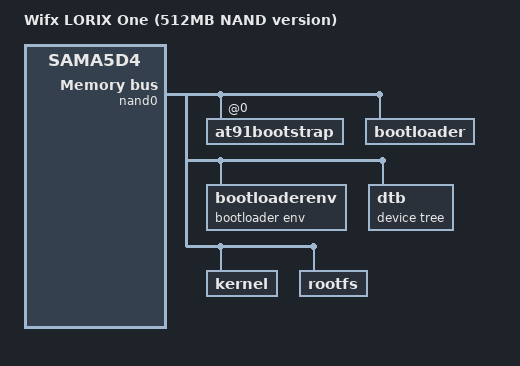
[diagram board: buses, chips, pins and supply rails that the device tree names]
/*
 * at91-sama5d4_lorix_one.dts - Device Tree file for SAMA5D4 Xplained board
 *
 *  Copyright (C) 2015 Atmel,
 *                2015 Josh Wu <josh.wu@atmel.com>
 *
 * This file is dual-licensed: you can use it either under the terms
 * of the GPL or the X11 license, at your option. Note that this dual
 * licensing only applies to this file, and not this project as a
 * whole.
 *
 *  a) This file is free software; you can redistribute it and/or
 *     modify it under the terms of the GNU General Public License as
 *     published by the Free Software Foundation; either version 2 of the
 *     License, or (at your option) any later version.
 *
 *     This file is distributed in the hope that it will be useful,
 *     but WITHOUT ANY WARRANTY; without even the implied warranty of
 *     MERCHANTABILITY or FITNESS FOR A PARTICULAR PURPOSE.  See the
 *     GNU General Public License for more details.
 *
 * Or, alternatively,
 *
 *  b) Permission is hereby granted, free of charge, to any person
 *     obtaining a copy of this software and associated documentation
 *     files (the "Software"), to deal in the Software without
 *     restriction, including without limitation the rights to use,
 *     copy, modify, merge, publish, distribute, sublicense, and/or
 *     sell copies of the Software, and to permit persons to whom the
 *     Software is furnished to do so, subject to the following
 *     conditions:
 *
 *     The above copyright notice and this permission notice shall be
 *     included in all copies or substantial portions of the Software.
 *
 *     THE SOFTWARE IS PROVIDED "AS IS", WITHOUT WARRANTY OF ANY KIND,
 *     EXPRESS OR IMPLIED, INCLUDING BUT NOT LIMITED TO THE WARRANTIES
 *     OF MERCHANTABILITY, FITNESS FOR A PARTICULAR PURPOSE AND
 *     NONINFRINGEMENT. IN NO EVENT SHALL THE AUTHORS OR COPYRIGHT
 *     HOLDERS BE LIABLE FOR ANY CLAIM, DAMAGES OR OTHER LIABILITY,
 *     WHETHER IN AN ACTION OF CONTRACT, TORT OR OTHERWISE, ARISING
 *     FROM, OUT OF OR IN CONNECTION WITH THE SOFTWARE OR THE USE OR
 *     OTHER DEALINGS IN THE SOFTWARE.
 */
/dts-v1/;
#include "at91-sama5d4_lorix_one_base.dtsi"

/ {
	model = "Wifx LORIX One (512MB NAND version)";
	ahb {
		nand0: nand@80000000 {
			nand-bus-width = <8>;
			nand-ecc-mode = "hw";
			nand-on-flash-bbt;
			atmel,has-pmecc;
			status = "okay";

			at91bootstrap@0 {
				label = "at91bootstrap";
				reg = <0x0 0x40000>;
			};

			bootloader@40000 {
				label = "bootloader";
				reg = <0x40000 0x80000>;
			};

			bootloaderenv@c0000 {
				label = "bootloader env";
				reg = <0xc0000 0xc0000>;
			};

			dtb@180000 {
				label = "device tree";
				reg = <0x180000 0x80000>;
			};

			kernel@200000 {
				label = "kernel";
				reg = <0x200000 0x600000>;
			};

			rootfs@800000 {
				label = "rootfs";
				reg = <0x800000 0x1f800000>;
			};
		};
	};
};
